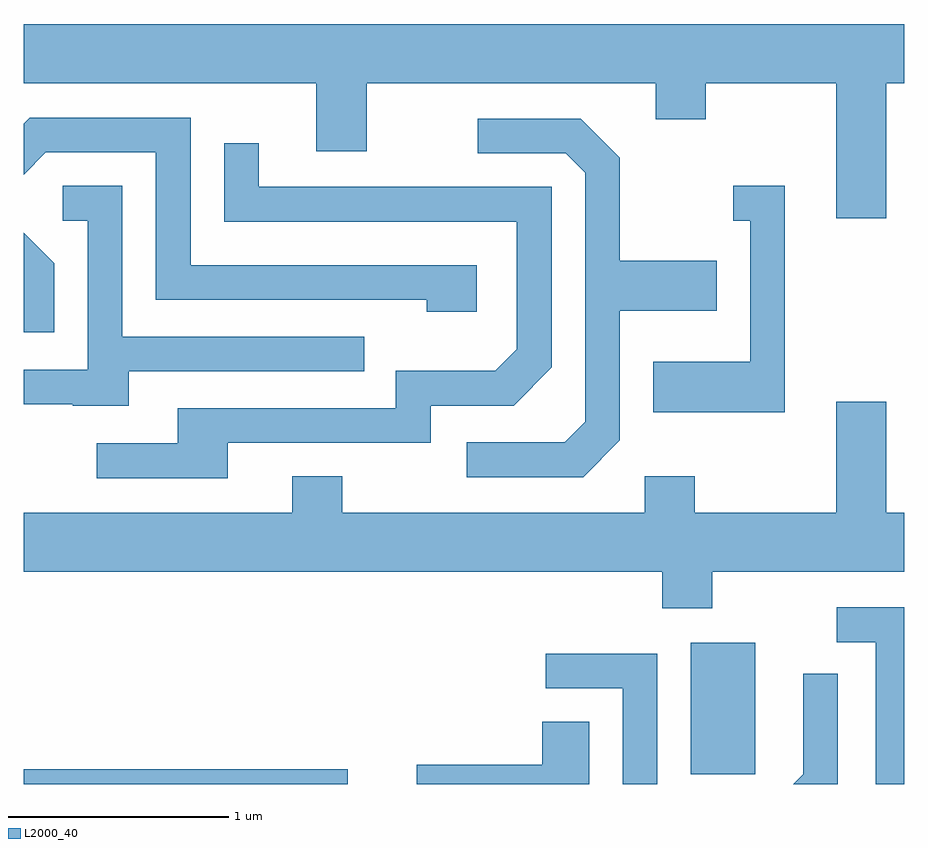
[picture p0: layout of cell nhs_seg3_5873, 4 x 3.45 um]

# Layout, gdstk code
import gdstk
lib = gdstk.Library(unit=1e-6, precision=1e-09)
def R(c, l, rs):  # rectangles x0, y0, x1, y1
    for r in rs: c.add(gdstk.rectangle(r[:2], r[2:], *l))
def P(c, l, *ps):  # polygons
    for p in ps: c.add(gdstk.Polygon(p, *l))
L2000_40 = (2000, 40)

nhs_seg3_5873 = lib.new_cell('nhs_seg3_5873')
R(nhs_seg3_5873, L2000_40, [(357.611,1173.892,359.084,1173.959), (360.641,1173.936,360.934,1174.534)])
P(nhs_seg3_5873, L2000_40, [(361.529,1177.076),(361.611,1177.076),(361.611,1177.344),(357.611,1177.344),(357.611,1177.076),(358.941,1177.076),(358.941,1176.766),(359.169,1176.766),(359.169,1177.076),(360.481,1177.076),(360.481,1176.911),(360.709,1176.911),(360.709,1177.076),(361.301,1177.076),(361.301,1176.461),(361.529,1176.461)],
  [(359.669,1176.249),(358.369,1176.249),(358.369,1176.919),(357.639,1176.919),(357.611,1176.891),(357.611,1176.66),(357.712,1176.761),(358.211,1176.761),(358.211,1176.091),(359.441,1176.091),(359.441,1176.036),(359.669,1176.036)],
  [(360.319,1175.454),(360.319,1176.041),(360.759,1176.041),(360.759,1176.269),(360.319,1176.269),(360.319,1176.737),(360.142,1176.914),(359.673,1176.914),(359.673,1176.756),(360.074,1176.756),(360.161,1176.669),(360.161,1175.537),(360.069,1175.444),(359.623,1175.444),(359.623,1175.286),(360.152,1175.286)],
  [(358.539,1175.441),(359.459,1175.441),(359.459,1175.611),(359.837,1175.611),(360.009,1175.784),(360.009,1176.604),(358.679,1176.604),(358.679,1176.803),(358.521,1176.803),(358.521,1176.446),(359.851,1176.446),(359.851,1175.867),(359.754,1175.769),(359.301,1175.769),(359.301,1175.599),(358.311,1175.599),(358.311,1175.439),(357.943,1175.439),(357.943,1175.281),(358.539,1175.281)],
  [(358.089,1175.766),(359.158,1175.766),(359.158,1175.924),(358.059,1175.924),(358.059,1176.609),(357.788,1176.609),(357.788,1176.451),(357.901,1176.451),(357.901,1175.774),(357.611,1175.774),(357.611,1175.616),(357.835,1175.616),(357.835,1175.611),(358.089,1175.611)],
  [(361.069,1176.609),(360.833,1176.609),(360.833,1176.451),(360.911,1176.451),(360.911,1175.809),(360.471,1175.809),(360.471,1175.581),(361.069,1175.581)],
  [(357.749,1176.257),(357.611,1176.395),(357.611,1175.943),(357.749,1175.943)],
  [(360.739,1174.856),(361.611,1174.856),(361.611,1175.124),(361.529,1175.124),(361.529,1175.629),(361.301,1175.629),(361.301,1175.124),(360.659,1175.124),(360.659,1175.289),(360.431,1175.289),(360.431,1175.124),(359.059,1175.124),(359.059,1175.289),(358.831,1175.289),(358.831,1175.124),(357.611,1175.124),(357.611,1174.856),(360.511,1174.856),(360.511,1174.691),(360.739,1174.691)],
  [(361.611,1174.694),(361.303,1174.694),(361.303,1174.536),(361.481,1174.536),(361.481,1173.892),(361.611,1173.892)],
  [(360.489,1174.484),(359.983,1174.484),(359.983,1174.326),(360.331,1174.326),(360.331,1173.892),(360.489,1173.892)],
  [(361.309,1174.393),(361.151,1174.393),(361.151,1173.937),(361.106,1173.892),(361.309,1173.892)],
  [(360.179,1174.174),(359.966,1174.174),(359.966,1173.979),(359.396,1173.979),(359.396,1173.892),(360.179,1173.892)])

lib.write_gds('nhs_seg3_5873.gds')
